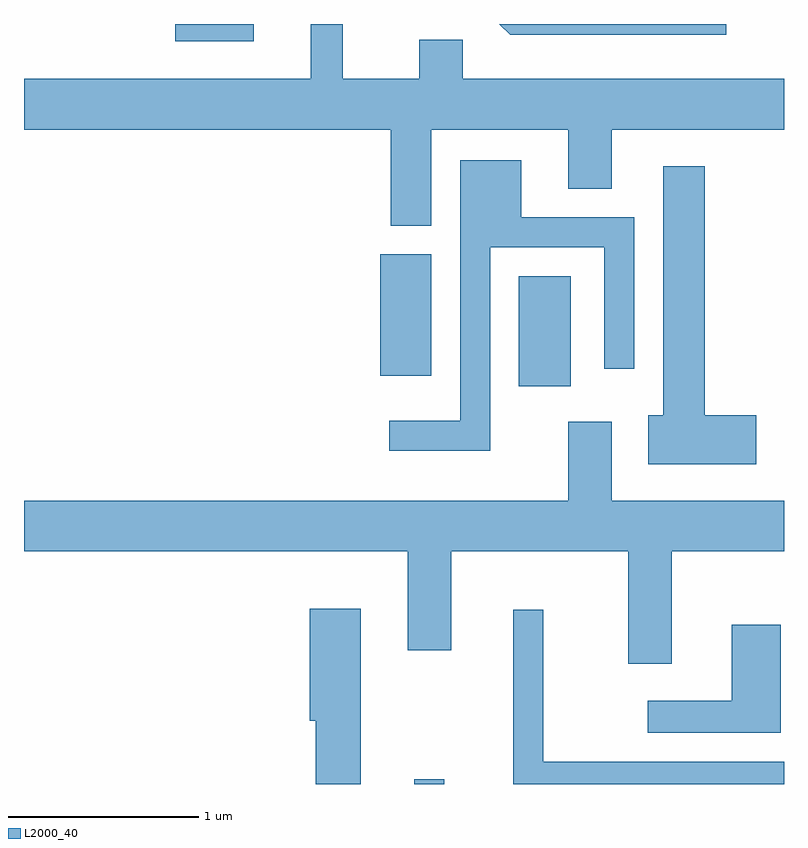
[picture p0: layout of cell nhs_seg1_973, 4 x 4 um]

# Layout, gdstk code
import gdstk
lib = gdstk.Library(unit=1e-6, precision=1e-09)
def R(c, l, rs):  # rectangles x0, y0, x1, y1
    for r in rs: c.add(gdstk.rectangle(r[:2], r[2:], *l))
def P(c, l, *ps):  # polygons
    for p in ps: c.add(gdstk.Polygon(p, *l))
L2000_40 = (2000, 40)

nhs_seg1_973 = lib.new_cell('nhs_seg1_973')
R(nhs_seg1_973, L2000_40, [(217.666,871.712,217.824,871.738), (218.216,873.806,218.489,874.384), (217.486,873.861,217.754,874.499), (216.406,875.621,216.819,875.712)])
P(nhs_seg1_973, L2000_40, [(217.754,875.156),(218.476,875.156),(218.476,874.846),(218.704,874.846),(218.704,875.156),(219.611,875.156),(219.611,875.424),(217.919,875.424),(217.919,875.629),(217.691,875.629),(217.691,875.424),(217.289,875.424),(217.289,875.712),(217.121,875.712),(217.121,875.424),(215.611,875.424),(215.611,875.156),(217.541,875.156),(217.541,874.651),(217.754,874.651)],
  [(219.308,875.712),(218.113,875.712),(218.169,875.656),(219.308,875.656)],
  [(218.064,874.536),(218.666,874.536),(218.666,873.898),(218.824,873.898),(218.824,874.694),(218.229,874.694),(218.229,874.994),(217.906,874.994),(217.906,873.624),(217.533,873.624),(217.533,873.466),(218.064,873.466)],
  [(219.464,873.654),(219.194,873.654),(219.194,874.964),(218.976,874.964),(218.976,873.654),(218.896,873.654),(218.896,873.396),(219.464,873.396)],
  [(219.019,872.936),(219.611,872.936),(219.611,873.204),(218.704,873.204),(218.704,873.619),(218.476,873.619),(218.476,873.204),(215.611,873.204),(215.611,872.936),(217.631,872.936),(217.631,872.416),(217.859,872.416),(217.859,872.936),(218.791,872.936),(218.791,872.346),(219.019,872.346)],
  [(217.384,872.634),(217.116,872.634),(217.116,872.046),(217.146,872.046),(217.146,871.712),(217.384,871.712)],
  [(219.611,871.829),(218.344,871.829),(218.344,872.628),(218.186,872.628),(218.186,871.712),(219.611,871.712)],
  [(219.594,872.549),(219.336,872.549),(219.336,872.149),(218.893,872.149),(218.893,871.981),(219.594,871.981)])

lib.write_gds('nhs_seg1_973.gds')
